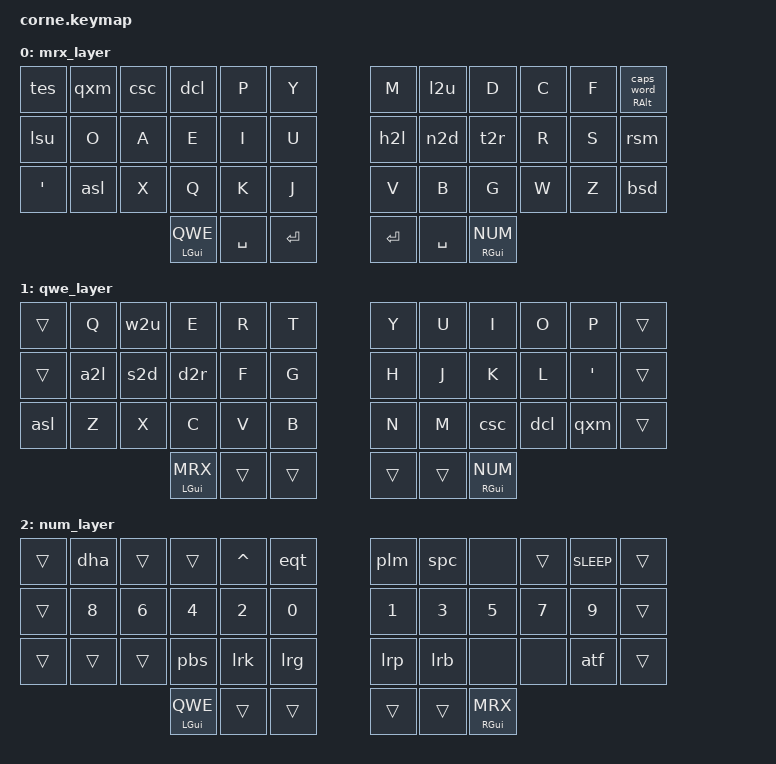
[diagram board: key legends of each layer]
// Copyright (c) 2020 The ZMK Contributors* * SPDX-License-Identifier: MIT
        #include <behaviors.dtsi>
        #include <dt-bindings/zmk/bt.h>
        #include <dt-bindings/zmk/keys.h>
        #include <dt-bindings/zmk/rgb.h>
        // #include "zmk-helpers/helper.h"
        // #include "zmk-helpers/unicode-chars/greek.dtsi"

        #define MRX 0       // MrX's DVORAKish KEY LAYOUT
        #define QWE 1       // QWERTY KEY LAYOUT
        #define NUM 2       // NUMBERS & ITS SYMBOLS
     // #define NUM 3       // NUMBERS & ITS SYMBOLS
     // #define MAT 4       // MATHS & THEIR SYMBOLS
        #define xxx &none
        #define ___ &trans
/*
        1         2         3         4         5         6         7         8         9         0        11       12       13        14        15        16        17        18        19        20        21        22
*/
        // add continue list to CAPS-WORD to turn it into CAPS-SENTENCE
        &caps_word { continue-list = <SPACE DOT COMMA SEMI COLON UNDER MINUS AMPS EXCL SLASH TAB STAR PIPE BSPC DEL>; };

/ {
        behaviors {
        //  ALL LAYERS:
                //  hold-tap of command keys for to-layers switching between BASE, QWERTY & NUMBERS layers | format: &jtl MODIFIER LAYER
                jtl: jump_to_layer { compatible = "zmk,behavior-hold-tap"; #binding-cells = <2>; bindings = <&kp>, <&to>; tapping-term-ms = <280>; quick-tap-ms = <0>; flavor = "tap-preferred"; }; // '&jtl R/LGUI LAYER' in keymaps

                // mod-morphing command keys 'hold' for arrow keys navigation
                // format: key: name { compatible = "zmk,behavior-mod-morph"; label = "LABEL"; #binding-cells = <0>; bindings = <WITHOUT MOD BEHAVIOR>, <WITH MOD BEHAVIOR>; mods = <(MOD_LGUI|MOD_RGUI)>; keep-mods = <(MOD_LSFT)>; };
        //  DEFAULT LAYER:
                //  mod-morphing default layer shifted alpha keys to give them new shifted partners | tes qxm csc dcl bsd opc qtq asl qtq lcc rcc h2l l2u t2r n2d
                tes: tab_escape { compatible = "zmk,behavior-mod-morph"; #binding-cells = <0>; bindings = <&kp TAB>, <&kp ESC>; mods = <(MOD_RSFT|MOD_RSFT)>; };
                qxm: qmark_xmark { compatible = "zmk,behavior-mod-morph"; #binding-cells = <0>; bindings = <&kp QMARK>, <&kp EXCL>; mods = <(MOD_LSFT|MOD_RSFT)>; keep-mods = <(MOD_LSFT)>; };
                csc: comma_scolon { compatible = "zmk,behavior-mod-morph"; #binding-cells = <0>; bindings = <&kp COMMA>, <&kp SEMI>; mods = <(MOD_LSFT|MOD_RSFT)>; };
                dcl: dot_colon { compatible = "zmk,behavior-mod-morph"; #binding-cells = <0>; bindings = <&kp DOT>, <&kp COLON>; mods = <(MOD_LSFT|MOD_RSFT)>; };
                bsd: back_delete { compatible = "zmk,behavior-mod-morph"; #binding-cells = <0>; bindings = <&kp BSPC>, <&kp DEL>; mods = <(MOD_LSFT|MOD_RSFT)>; keep-mods = <(MOD_RSFT)>; };
                lsu: lsft_under { compatible = "zmk,behavior-mod-morph"; #binding-cells = <0>; bindings = <&kp LSFT>, <&kp UNDER>; mods = <(MOD_LSFT|MOD_RSFT)>; };
                rsm: rsft_minus { compatible = "zmk,behavior-mod-morph"; #binding-cells = <0>; bindings = <&kp RSFT>, <&kp MINUS>; mods = <(MOD_LSFT|MOD_RSFT)>; };
                asl: amps_slash { compatible = "zmk,behavior-mod-morph"; #binding-cells = <0>; bindings = <&kp AMPS>, <&kp SLASH>; mods = <(MOD_LSFT|MOD_RSFT)>; };

                //  hold-tapping default layer key for 'option/cap-sentence' by extending caps-word (above behaviors{ ) with a continue list: spaces, any letter, punctuation, & modified keys
                opc: opt_caps { compatible = "zmk,behavior-hold-tap"; #binding-cells = <2>; bindings = <&kp>, <&caps_word>; tapping-term-ms = <280>; flavor = "tap-preferred"; }; // '&opc RALT 0' in keymap

                //  H, L, T & N KEYS MODDED FOR DEFAULT LAYER NAVIGATION:  h2l l2u t2r n2d
                h2l: h_to_left { compatible = "zmk,behavior-mod-morph"; #binding-cells = <0>; bindings = <&kp H>, <&kp LEFT>; mods = <(MOD_RGUI|MOD_LGUI)>; };
                l2u: u_to_up { compatible = "zmk,behavior-mod-morph"; #binding-cells = <0>; bindings = <&kp L>, <&kp UP>; mods = <(MOD_RGUI|MOD_LGUI)>; };
                t2r: t_to_right { compatible = "zmk,behavior-mod-morph"; #binding-cells = <0>; bindings = <&kp T>, <&kp RIGHT>; mods = <(MOD_RGUI|MOD_LGUI)>; };
                n2d: j_to_down { compatible = "zmk,behavior-mod-morph"; #binding-cells = <0>; bindings = <&kp N>, <&kp DOWN>; mods = <(MOD_RGUI|MOD_LGUI)>; };

                //  NUMBER LAYER:
                //  mod-morphing number layer shifted number keys to give them F-KEY shifted partners | nf tf thf fof fif sif sef eif nif zef elf twf
                onf: one_fone { compatible = "zmk,behavior-mod-morph"; #binding-cells = <0>; bindings = <&kp N1>, <&kp F1>; mods = <(MOD_LSFT|MOD_RSFT)>; };
                tof: two_ftwo { compatible = "zmk,behavior-mod-morph"; #binding-cells = <0>; bindings = <&kp N2>, <&kp F2>; mods = <(MOD_LSFT|MOD_RSFT)>; };
                thf: three_fthree { compatible = "zmk,behavior-mod-morph"; #binding-cells = <0>; bindings = <&kp N3>, <&kp F3>; mods = <(MOD_LSFT|MOD_RSFT)>; };
                fof: four_ffour { compatible = "zmk,behavior-mod-morph"; #binding-cells = <0>; bindings = <&kp N4>, <&kp F4>; mods = <(MOD_LSFT|MOD_RSFT)>; };
                fif: five_ffive { compatible = "zmk,behavior-mod-morph"; #binding-cells = <0>; bindings = <&kp N5>, <&kp F5>; mods = <(MOD_LSFT|MOD_RSFT)>; };
                sif: two_fsix { compatible = "zmk,behavior-mod-morph"; #binding-cells = <0>; bindings = <&kp N6>, <&kp F6>; mods = <(MOD_LSFT|MOD_RSFT)>; };
                sef: two_fseven { compatible = "zmk,behavior-mod-morph"; #binding-cells = <0>; bindings = <&kp N7>, <&kp F7>; mods = <(MOD_LSFT|MOD_RSFT)>; };
                eif: eight_feight { compatible = "zmk,behavior-mod-morph"; #binding-cells = <0>; bindings = <&kp N8>, <&kp F8>; mods = <(MOD_LSFT|MOD_RSFT)>; };
                nif: nine_fnine { compatible = "zmk,behavior-mod-morph"; #binding-cells = <0>; bindings = <&kp N9>, <&kp F9>; mods = <(MOD_LSFT|MOD_RSFT)>; };
                zef: zero_ften { compatible = "zmk,behavior-mod-morph"; #binding-cells = <0>; bindings = <&kp N0>, <&kp F10>; mods = <(MOD_LSFT|MOD_RSFT)>; };
                elf: minus_feleven { compatible = "zmk,behavior-mod-morph"; #binding-cells = <0>; bindings = <&kp MINUS>, <&kp F11>; mods = <(MOD_LSFT|MOD_RSFT)>; };
                twf: two_ftwelve { compatible = "zmk,behavior-mod-morph"; #binding-cells = <0>; bindings = <&kp PLUS>, <&kp F12>; mods = <(MOD_LSFT|MOD_RSFT)>; };

                //  mod-morphing number layer shifted symbol keys to give them new shifted partners | dha eqt plm stp pbs lrp lrg lrb lrk atf
                dha: dollar_hash { compatible = "zmk,behavior-mod-morph"; #binding-cells = <0>; bindings = <&kp DOLLAR>, <&kp HASH>; mods = <(MOD_LSFT|MOD_RSFT)>; };
                eqt: equal_tilde { compatible = "zmk,behavior-mod-morph"; #binding-cells = <0>; bindings = <&kp EQUAL>, <&kp TILDE>; mods = <(MOD_LSFT|MOD_RSFT)>; };
                plm: plus_minus { compatible = "zmk,behavior-mod-morph"; #binding-cells = <0>; bindings = <&kp PLUS>, <&kp MINUS>; mods = <(MOD_LSFT|MOD_RSFT)>; };
                spc: star_percent { compatible = "zmk,behavior-mod-morph"; #binding-cells = <0>; bindings = <&kp STAR>, <&kp PERCENT>; mods = <(MOD_LSFT|MOD_RSFT)>; };
                pbs: pipe_bslash { compatible = "zmk,behavior-mod-morph"; #binding-cells = <0>; bindings = <&kp PIPE>, <&kp BACKSLASH>; mods = <(MOD_LSFT|MOD_RSFT)>; };
                lrp: lperan_rperan { compatible = "zmk,behavior-mod-morph"; #binding-cells = <0>; bindings = <&kp LPAR>, <&kp RPAR>; mods = <(MOD_LSFT|MOD_RSFT)>; };
                lrg: gthan_lthan { compatible = "zmk,behavior-mod-morph"; #binding-cells = <0>; bindings = <&kp LT>,<&kp GT> ; mods = <(MOD_LSFT|MOD_RSFT)>; };
                lrb: lbrace_rbrace { compatible = "zmk,behavior-mod-morph"; #binding-cells = <0>; bindings = <&kp LBRC>, <&kp RBRC>; mods = <(MOD_LSFT|MOD_RSFT)>; };
                lrk: lbraket_rbraket { compatible = "zmk,behavior-mod-morph"; #binding-cells = <0>; bindings = <&kp LBKT>, <&kp RBKT>; mods = <(MOD_LSFT|MOD_RSFT)>; };
                atf: at_fslash { compatible = "zmk,behavior-mod-morph"; #binding-cells = <0>; bindings = <&kp AT>, <&kp FSLH>; mods = <(MOD_LSFT|MOD_RSFT)>; };

        // NAVIGATION LAYER
              //  A, W, D & S KEYS MODDED FOR QWERTY NAVIGATION:  a2l w2u d2r s2d
                a2l: s_to_left { compatible = "zmk,behavior-mod-morph"; #binding-cells = <0>; bindings = <&kp A>, <&kp LEFT>; mods = <(MOD_RGUI|MOD_LGUI)>; };
                w2u: e_to_up { compatible = "zmk,behavior-mod-morph"; #binding-cells = <0>; bindings = <&kp W>, <&kp UP>; mods = <(MOD_RGUI|MOD_LGUI)>; };
                d2r: f_to_right { compatible = "zmk,behavior-mod-morph"; #binding-cells = <0>; bindings = <&kp D>, <&kp RIGHT>; mods = <(MOD_RGUI|MOD_LGUI)>; };
                s2d: c_to_down { compatible = "zmk,behavior-mod-morph"; #binding-cells = <0>; bindings = <&kp S>, <&kp DOWN>; mods = <(MOD_RGUI|MOD_LGUI)>; };

        //  MATHS LAYER:
        // special & unicode characters of formal logic, set, number & group theory

        };

        // LAYER KEYMAPS
        keymap {
                compatible = "zmk,keymap";
                // DEFAULT LAYER
                mrx_layer {
        /*   tab-esc   qmark-xmark  cma-semi  dot-col  P      Y        M      L     D,^     C     F   opt-caps
            lsft-under      O           A       E      I      U        H      N,<    T     R,>    S   rshft-minus
                ' "     amp-slash       X       Q      K      J        V      B     G,v     W     Z   bshft-del
                                 LGUI-QWE     SPC    RET      RET    SPC      RGUI-NUM   */

                        bindings = <  // tes qxm csc dcl bsd opc qtq asl qtq lcc rcc  h2l l2u t2r n2d
        &tes       &qxm       &csc       &dcl        &kp P     &kp Y        &kp M      &l2u        &kp D      &kp C    &kp F    &opc RALT 0
        &lsu      &kp O      &kp A      &kp E        &kp I     &kp U        &h2l       &n2d        &t2r       &kp R    &kp S    &rsm
     &kp SQT       &asl      &kp X      &kp Q        &kp K     &kp J        &kp V      &kp B       &kp G      &kp W    &kp Z    &bsd
                                &jtl LGUI QWE    &kp SPACE   &kp RET        &kp RET    &kp SPACE   &jtl RGUI NUM
                        >;
                };
                // QWERTY LAYER
                qwe_layer {
      /*   tab-esc      Q     W       E,^       R          T       Y         U        I         O        p            opt-caps
        lsft_under      A     S,<     D        F,>         G       H         J        K         L        ' "          rshft-minus
         amp-slash      Z     X      C,v        K          J       V         B        com-semi  dot-col  qmark-xmark  bspc-del
                                LGUI-MRX      SPC        RET       RET      SPC       RGUI-NUM   */

                        bindings = <  // tes qxm csc dcl bsd opc lsq asl rsn lcc rcc a2l w2u d2r s2d
           ___    &kp Q      &w2u     &kp E     &kp R     &kp T       &kp Y     &kp U     &kp I      &kp O     &kp P     ___
           ___    &a2l       &s2d      &d2r     &kp F     &kp G       &kp H     &kp J     &kp K      &kp L     &kp SQT   ___
          &asl    &kp Z     &kp X     &kp C     &kp V     &kp B       &kp N     &kp M     &csc       &dcl      &qxm      ___
                              &jtl LGUI MRX       ___       ___       ___       ___       &jtl RGUI NUM
                        >;
                };
               // NUMBER LAYER
               num_layer {
/*         tab-esc     $ #       , ;       : .      ^        = ~         + -        * %       xxx       ^-^C      sleep       opt-caps
        lsft-under    8-F8      6-F6      4-F4    2-F2      0-F0         1-F1       3-F3      5-F5      7-F7      9-F9        rshft-minus
              '  "     & /   (??)-^X       |-\     [ ]       < >         ( )^V      { }       xxx       xxx       @ /         bspc-del
                                      LGUI-QWE     SPC       RET         RET        SPC       RGUI-MRX   */

                        bindings = <  // dha eqt plm spc pbs lrk lrg lrp lrb  atf
       ___      &dha       ___        ___   &kp CARET       &eqt         &plm       &spc      xxx        ___      &kp C_SLEEP  ___
       ___    &kp N8    &kp N6     &kp N4      &kp N2     &kp N0         &kp N1     &kp N3    &kp N5     &kp N7   &kp N9       ___
       ___       ___       ___       &pbs        &lrk       &lrg         &lrp       &lrb      xxx        xxx      &atf         ___
                            &jtl LGUI QWE         ___        ___         ___        ___       &jtl RGUI MRX
                        >;
                };
                // MATH THEORY LAYER 
/*            mth_layer {
         /* trans    &        ,      .       ∨       +         -        ^        =      *       #    trans
            trans   8-F8    6-F6    4-F4    2-F2    0-F0      1-F1     3-F3     5-F5   7-F7   9-F9   trans
              |     @-/       [      <       {       (          )       }        >      ]       \    trans
                                lcm_cnt  lspc-num   &RET      &RET   rsp_sym  rcm_cnt  */

/*                        bindings = <
   &kp  TAB  &kp EXCL &kp AT &kp HASH &kp DLLR &kp PRCNT   &kp CARET &kp AMPS  &kp ASTRK &kp LPAR &kp RPAR &kp BSPC
   &kp LCTRL ___   ___ ___   ___   ___      &kp MINUS &kp EQUAL &kp LBKT  &kp RBKT &kp BSLH &kp GRAVE
   &kp LSFT ___   ___ ___   ___   ___      &kp UNDER &kp PLUS  &kp LBRC  &kp RBRC &kp PIPE &kp TILDE
                             &kp LGUI ___   &kp SPACE   &kp RET   ___    &kp RALT
                        >;
                };  */
         };
  };
